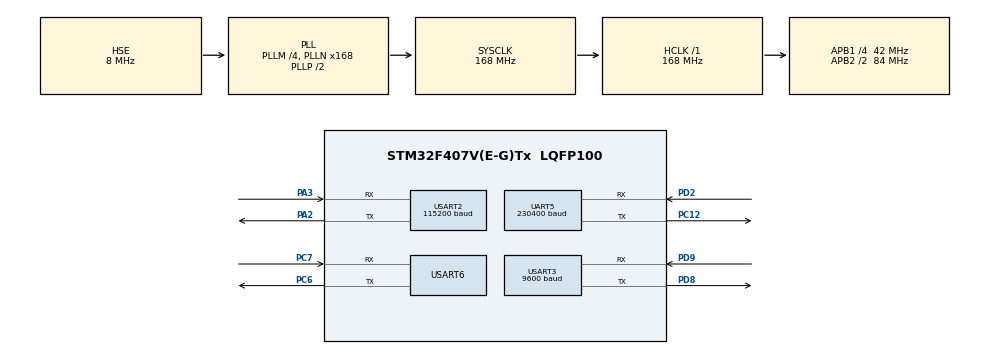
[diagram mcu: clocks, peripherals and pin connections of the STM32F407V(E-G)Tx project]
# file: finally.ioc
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Dma.Request0=UART5_RX
Dma.Request1=UART5_TX
Dma.UART5_RX.0.Direction=DMA_PERIPH_TO_MEMORY
Dma.UART5_RX.0.FIFOMode=DMA_FIFOMODE_DISABLE
Dma.UART5_RX.0.Instance=DMA1_Stream0
Dma.UART5_RX.0.MemDataAlignment=DMA_MDATAALIGN_BYTE
Dma.UART5_RX.0.MemInc=DMA_MINC_ENABLE
Dma.UART5_RX.0.Mode=DMA_NORMAL
Dma.UART5_RX.0.PeriphDataAlignment=DMA_PDATAALIGN_BYTE
Dma.UART5_RX.0.PeriphInc=DMA_PINC_DISABLE
Dma.UART5_RX.0.Priority=DMA_PRIORITY_LOW
Dma.UART5_TX.1.Direction=DMA_MEMORY_TO_PERIPH
Dma.UART5_TX.1.FIFOMode=DMA_FIFOMODE_DISABLE
Dma.UART5_TX.1.Instance=DMA1_Stream7
Dma.UART5_TX.1.MemDataAlignment=DMA_MDATAALIGN_BYTE
Dma.UART5_TX.1.MemInc=DMA_MINC_ENABLE
Dma.UART5_TX.1.Mode=DMA_NORMAL
Dma.UART5_TX.1.PeriphDataAlignment=DMA_PDATAALIGN_BYTE
Dma.UART5_TX.1.PeriphInc=DMA_PINC_DISABLE
Dma.UART5_TX.1.Priority=DMA_PRIORITY_LOW
Mcu.Family=STM32F4
Mcu.Name=STM32F407V(E-G)Tx
Mcu.Package=LQFP100
NVIC.DMA1_Stream0_IRQn=true\:0\:0\:false\:false\:true\:false\:true\:true
NVIC.DMA1_Stream7_IRQn=true\:0\:0\:false\:false\:true\:false\:true\:true
NVIC.PriorityGroup=NVIC_PRIORITYGROUP_4
NVIC.UART5_IRQn=true\:0\:0\:false\:false\:true\:true\:true\:true
NVIC.USART2_IRQn=true\:0\:0\:false\:false\:true\:true\:true\:true
NVIC.USART3_IRQn=true\:0\:0\:false\:false\:true\:true\:true\:true
NVIC.USART6_IRQn=true\:0\:0\:false\:false\:true\:true\:true\:true
PA13.Mode=Serial_Wire
PA13.Signal=SYS_JTMS-SWDIO
PA14.Mode=Serial_Wire
PA14.Signal=SYS_JTCK-SWCLK
PA2.Mode=Asynchronous
PA2.Signal=USART2_TX
PA3.Mode=Asynchronous
PA3.Signal=USART2_RX
PC12.Mode=Asynchronous
PC12.Signal=UART5_TX
PC6.Mode=Asynchronous
PC6.Signal=USART6_TX
PC7.Mode=Asynchronous
PC7.Signal=USART6_RX
PD2.Mode=Asynchronous
PD2.Signal=UART5_RX
PD8.Mode=Asynchronous
PD8.Signal=USART3_TX
PD9.Mode=Asynchronous
PD9.Signal=USART3_RX
PH0-OSC_IN.Mode=HSE-External-Oscillator
PH0-OSC_IN.Signal=RCC_OSC_IN
PH1-OSC_OUT.Mode=HSE-External-Oscillator
PH1-OSC_OUT.Signal=RCC_OSC_OUT
ProjectManager.HeapSize=0x200
ProjectManager.StackSize=0x400
ProjectManager.TargetToolchain=STM32CubeIDE
RCC.48MHZClocksFreq_Value=48000000
RCC.AHBFreq_Value=168000000
RCC.APB1CLKDivider=RCC_HCLK_DIV4
RCC.APB1Freq_Value=42000000
RCC.APB1TimFreq_Value=84000000
RCC.APB2CLKDivider=RCC_HCLK_DIV2
RCC.APB2Freq_Value=84000000
RCC.APB2TimFreq_Value=168000000
RCC.CortexFreq_Value=168000000
RCC.HCLKFreq_Value=168000000
RCC.HSE_VALUE=8000000
RCC.HSI_VALUE=16000000
RCC.LSE_VALUE=32768
RCC.PLLM=4
RCC.PLLN=168
RCC.PLLQ=7
RCC.PLLSourceVirtual=RCC_PLLSOURCE_HSE
RCC.SYSCLKFreq_VALUE=168000000
RCC.SYSCLKSource=RCC_SYSCLKSOURCE_PLLCLK
RCC.VCOOutputFreq_Value=336000000
UART5.BaudRate=230400
UART5.VirtualMode=Asynchronous
USART2.BaudRate=115200
USART2.VirtualMode=VM_ASYNC
USART3.BaudRate=9600
USART3.VirtualMode=VM_ASYNC
USART6.VirtualMode=VM_ASYNC
VP_CRC_VS_CRC.Mode=CRC_Activate
VP_RNG_VS_RNG.Mode=RNG_Activate
board=custom

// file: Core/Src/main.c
/* USER CODE BEGIN Header */
/**
  ******************************************************************************
  * @file           : main.c
  * @brief          : Main program body
  ******************************************************************************
  * @attention
  *
  * Copyright (c) 2023 STMicroelectronics.
  * All rights reserved.
  *
  * This software is licensed under terms that can be found in the LICENSE file
  * in the root directory of this software component.
  * If no LICENSE file comes with this software, it is provided AS-IS.
  *
  ******************************************************************************
  */
/* USER CODE END Header */
#include "main.h"
#include "crc.h"
#include "dma.h"
#include "rng.h"
#include "usart.h"
#include "gpio.h"

/* USER CODE BEGIN Includes */
#include <stdio.h>
#include <string.h>
#include <stdlib.h>
#include "base_serial.h"
#include "ringbuffer.h"
#include "Serial.h"
#include "roboClaw.h"
#include "gps.h"
#include "bluetooth.h"
/* USER CODE END Includes */

/* USER CODE BEGIN PTD */
//앱인벤터에서 보낸 데이터를 받는 변수->bluetooth.c의 변수 값을 그대로 가져와서 써야하기 때문에 extern 선언
extern uint8_t rx3_data;
//위의 것과 같은 맥락
extern GPS_t GPS;
//앱인벤터에서 보낸 값 넣는 변수 형식 => 각도,거리#
extern float GPS_angle; //앱인벤터로 실시간 각도를 받는 변수
extern float GPS_distance;
float APP_angle; // 앱인벤터로 받은 변수를 그 각도만큼 돌리고 난 후에 다시 각도를 받기위한 변수
float APP_distance; // // 앱인벤터로 받은 변수를 그 거리만큼 이동한 후 다음 거를 받기위한 변수
extern float L_angle;
extern uint8_t point;
extern RoboClaw_HandleTypeDef hroboClaw1;
extern RoboClaw_HandleTypeDef hroboClaw2;
uint8_t check1 =0; //맨 처음 각도 값을 받기 위한 변수 셋팅 ;

uint8_t start=0;
uint8_t enc;
uint8_t encV[10];
uint32_t encM1 = 0;
uint8_t stop=0;
uint8_t count1 = 0;
uint8_t count2 = 0;
uint8_t stopM1[5] = {0};
uint8_t stopM2[5] = {0};
extern float Lidar_data;
extern uint16_t srf08_data;
extern uint8_t LCD_data;
//LCD_data  -> start 버튼을 받았을떄  모터 굴리기 시작

/* USER CODE END PTD */

/* USER CODE BEGIN PD */

void  Uart_send(float a,float b){
	char buff[50];
	sprintf(buff,"angle : %f =>test, distance : %f\n",a,b);
	HAL_UART_Transmit(&huart6, (uint8_t*) buff, strlen(buff),HAL_MAX_DELAY);
}
void  Uart_send32(uint32_t a){
	char buff[50];
	sprintf(buff,"enc : %lu",(unsigned long)a);
	HAL_UART_Transmit(&huart6, (uint8_t*) buff, strlen(buff),HAL_MAX_DELAY);
}
void  Uart_send1(float a,float b){
	char buff[50];
	sprintf(buff,"angle : %f, distance : %f=>test\n",a,b);
	HAL_UART_Transmit(&huart6, (uint8_t*) buff, strlen(buff),HAL_MAX_DELAY);
}
void  Uart_send2(){
	char buff[50];
	sprintf(buff,"middle stop\n");
	HAL_UART_Transmit(&huart6, (uint8_t*) buff, strlen(buff),HAL_MAX_DELAY);
}
void  Uart_Number_send(){
	char buff[50];
	sprintf(buff,"stoping  \r\n");
	HAL_UART_Transmit(&huart6, (uint8_t*) buff, strlen(buff),HAL_MAX_DELAY);
}
/* USER CODE END PD */

void SystemClock_Config(void);

int main(void)
{

  /* MCU Configuration--------------------------------------------------------*/

  /* Reset of all peripherals, Initializes the Flash interface and the Systick. */
  HAL_Init();

  /* Configure the system clock */
  SystemClock_Config();

  /* Initialize all configured peripherals */
  MX_GPIO_Init();
  MX_DMA_Init();
  MX_UART5_Init();
  MX_USART2_UART_Init();
  MX_USART3_UART_Init();
  MX_CRC_Init();
  MX_RNG_Init();
  MX_USART6_UART_Init();
  /* USER CODE BEGIN 2 */
  //  MX_USART2_UART_Init(); 		GPS o
  //  MX_USART3_UART_Init(); 		bluetooth o
  //  MX_UART5_Init();				motor o
  //  MX_USART6_UART_Init();		serial o
  //  MX_I2C1_Init(); 				tof

  MOTOR_Init();																	// MOTOR default code
  GPS_Init();																	// GPS default code
  //bluetooth의 uart포트를 바꾸고 싶으면 'bluetooth.h'에서 BLUETOOTH_USART에 할당된 ()안의 값만 바꾸면
  HAL_UART_Receive_IT(BLUETOOTH_USART,&rx3_data, sizeof(rx3_data));
  HAL_UART_Receive_IT(&huart5, &enc, 1);

  /* USER CODE END 2 */

  /* Infinite loop */
  /* USER CODE BEGIN WHILE */
  while (1)
  {
	  //앱인벤터로 gps값을 보내는 함수로 계속 이함수를 사용해줘야 앱인벤터로 지속적으로 gps값이 들어갈 수 있음

//	  SIBAL_SendData();
	  GPS_SendData();
//	  B_Forward(10);
//////	  GETENCODERSM1M2(&hroboClaw1);
//	  //우리가 앱인벤터로 받은 값이 파싱이  잘 되었는지 보기위한 함수
//	  ResetEnc();
//	  B_turn(8);

	  if(point != 236){
//	  AppValue_SendData1();
//	  if(start ==2 || ((check == 1 || check1 == 1) ||(GPS_angle >-5 && GPS_angle<5))){
		  if(start !=2){
			 // 처음에 각도를 받았으니 check 0으로 다시 셋팅
//			  ResetEnc();
			  APP_angle = GPS_angle;
	//		  APP_distance =GPS_distance;
		  }
	//	  if((start ==2 || (check != 1||check1 != 1))&&(GPS_angle <-5  || GPS_angle>5)){
//		  if(start ==2 || (GPS_angle <-5  || GPS_angle>5)){

			  if(start !=2 && (GPS_angle <-5  || GPS_angle>5)){
	//	  		  check1=0;// 처음에 각도를 받았으니 check 0으로 다시 셋팅
	//	  		  APP_angle = GPS_angle;
				  APP_distance =GPS_distance;
			  }
			  if(start == 1){//LCD에서 출발 버튼을 눌렀을때->  일단은 앱인벤터로부터 gps 값을 받았을때
				  B_turn(APP_angle);
	//			  Uart_send(APP_angle, APP_distance);
				  if(check1 >0){ //
	//				  check=0;
//					  check1=0;
					  B_Forward(APP_distance);
	//				  Uart_send1(APP_angle, APP_distance);
				  }
				  if(point==1 ||point == 2){
					  start =2;
				  }
			  }else if(start == 2 ){// 코드가 실행되는 동안 point가 바뀌어서 실행이 안될수도??
				  if(point ==2){// 최종 목적지에 도착했을떄 실행
					  check1 =0;

					  ResetEnc();
//					  Uart_Number_send();

				  }
		//			  DriveM1M2withSpeedandPosition(&hroboClaw1, 0,0,0,0);            // Forward 1m distance
		//			  DriveM1M2withSpeedandPosition(&hroboClaw2, 0,0,0,0);
				  else if(point==1){//중간 마커 지점에 도착했을때 실행
						  //거리 엔코더
					  ResetEnc();
					  start =1;
					  check1 =0;
//					  check=0;
//					  Uart_send2();
			  }
		//				  B_turn(APP_angle);
		//
		//				  if(check ==1){
		//					  B_Forward(GPS_distance);
		//				  }
					  }
	  }else {
		  ResetEnc();
		  B_Forward(0);
	  }

//		  else if(check ==1){ //중간 마커지점에 도착하지도 않았는데 엔코더값을 채웠을때 실행
//			  	  check=0;
//				  B_turn(APP_angle);
//				  if(check ==1){
//			  B_Forward(GPS_distance);
//
//				  }
//		  }
	  // 나중에 lcd의 start 버튼을 눌렀을떄 start =1로 다시 가게 해서 루프 돌게해야겠다.

	  //각도값이 실시간으로 들어올떄 -> 3~-3사이의 각도가 들어오면 직진 => 해결
	  //check가 1일때 다음것을 실행한
	  //처음 각도까지는 잘 작동하는데 그다음 거리부터 문제가 생길수 있음
	  // 지속적으로 각도 값이 들어올떄 =>해결
    /* USER CODE END WHILE */

  }
}

void SystemClock_Config(void)
{
  RCC_OscInitTypeDef RCC_OscInitStruct = {0};
  RCC_ClkInitTypeDef RCC_ClkInitStruct = {0};

  /** Configure the main internal regulator output voltage
  */
  __HAL_RCC_PWR_CLK_ENABLE();
  __HAL_PWR_VOLTAGESCALING_CONFIG(PWR_REGULATOR_VOLTAGE_SCALE1);

  /** Initializes the RCC Oscillators according to the specified parameters
  * in the RCC_OscInitTypeDef structure.
  */
  RCC_OscInitStruct.OscillatorType = RCC_OSCILLATORTYPE_HSE;
  RCC_OscInitStruct.HSEState = RCC_HSE_ON;
  RCC_OscInitStruct.PLL.PLLState = RCC_PLL_ON;
  RCC_OscInitStruct.PLL.PLLSource = RCC_PLLSOURCE_HSE;
  RCC_OscInitStruct.PLL.PLLM = 4;
  RCC_OscInitStruct.PLL.PLLN = 168;
  RCC_OscInitStruct.PLL.PLLP = RCC_PLLP_DIV2;
  RCC_OscInitStruct.PLL.PLLQ = 7;
  if (HAL_RCC_OscConfig(&RCC_OscInitStruct) != HAL_OK)
  {
    Error_Handler();
  }

  /** Initializes the CPU, AHB and APB buses clocks
  */
  RCC_ClkInitStruct.ClockType = RCC_CLOCKTYPE_HCLK|RCC_CLOCKTYPE_SYSCLK
                              |RCC_CLOCKTYPE_PCLK1|RCC_CLOCKTYPE_PCLK2;
  RCC_ClkInitStruct.SYSCLKSource = RCC_SYSCLKSOURCE_PLLCLK;
  RCC_ClkInitStruct.AHBCLKDivider = RCC_SYSCLK_DIV1;
  RCC_ClkInitStruct.APB1CLKDivider = RCC_HCLK_DIV4;
  RCC_ClkInitStruct.APB2CLKDivider = RCC_HCLK_DIV2;

  if (HAL_RCC_ClockConfig(&RCC_ClkInitStruct, FLASH_LATENCY_5) != HAL_OK)
  {
    Error_Handler();
  }
}

/* USER CODE BEGIN 4 */
void HAL_UART_RxCpltCallback(UART_HandleTypeDef *huart) {
	if(huart == &huart2) GPS_UART_CallBack();
//	else if(huart == &huart6){
//
//	}
	else if(huart == &huart3){
		 count1++;
	      APP_VALUE_PARSE_CallBack();
	      if(count1==1){
	      start=1;
	      }
//	      if(start !=2 && (GPS_angle <-5  || GPS_angle>5)){
//	      			 // 처음에 각도를 받았으니 check 0으로 다시 셋팅
//	      			  ResetEnc();
//	      			  APP_angle = GPS_angle;
//	      	//		  APP_distance =GPS_distance;
//	      		  }
//	      	//	  if((start ==2 || (check != 1||check1 != 1))&&(GPS_angle <-5  || GPS_angle>5)){
//	      //		  if(start ==2 || (GPS_angle <-5  || GPS_angle>5)){
//
//	      			  if(start !=2 && (GPS_angle <-5  || GPS_angle>5)){
//	      	//	  		  check1=0;// 처음에 각도를 받았으니 check 0으로 다시 셋팅
//	      	//	  		  APP_angle = GPS_angle;
//	      				  APP_distance =GPS_distance;
//	      			  }
	   }
//	else if(huart -> Instance == UART5){
//	      if(enc != 0xFF){
//	         encV[count1++] = enc;
//	         if(count1 == 9){
//	            encM1 = 0;
//	            count1 = 0;
//	            for(int i = 0; i < 4; i++){
//	               if(i < 4) encM1 |= (uint32_t) encV[i] << (8 * (i));
////	               else if(i >= 4 && i < 8) encM2 |= (uint32_t) encV[i] >> (8 * (i - 4));
//	            }
//	            Uart_send32(encM1);
//	         }
//	      }
//	      if (!(stopM1[count2] == encM1)) {
//	         stopM1[0] = encM1;
//
//	         count2 = 0;
//	      }
//	      else {
//
//	         stopM1[count2++] = encM1;
//
//	         if (count2 == 5) {
//	        	 ResetEnc();
////	        	 check = 1;
//	         }
//	      }
//	      HAL_UART_Receive_IT(&huart5, &enc, 1);
//	   }
	}

/* USER CODE END 4 */

void Error_Handler(void)
{
  __disable_irq();
  while (1)
  {
  }
}
